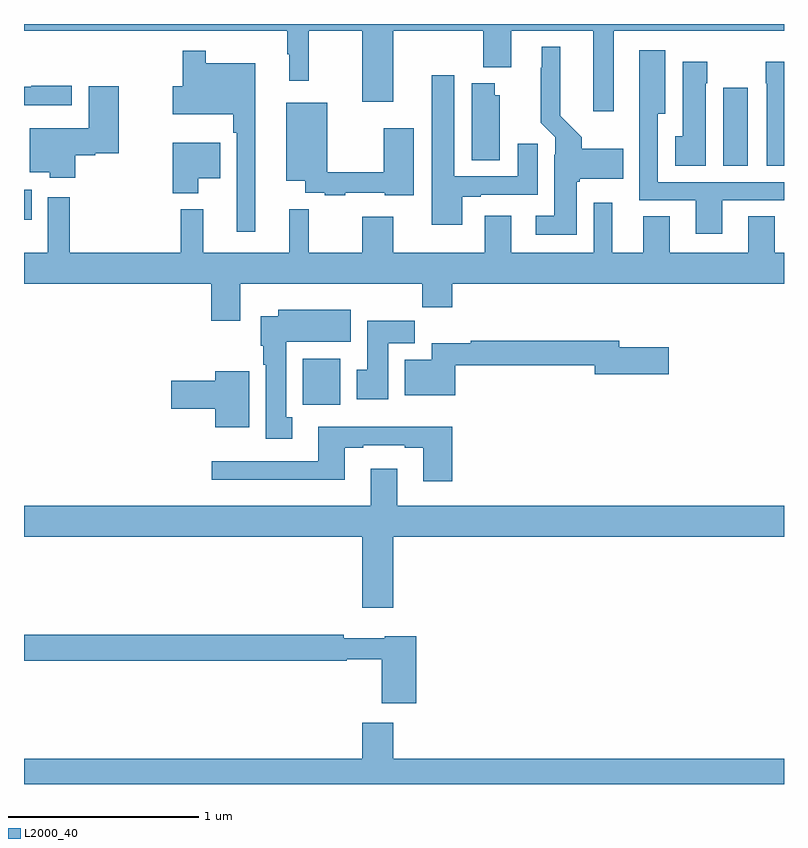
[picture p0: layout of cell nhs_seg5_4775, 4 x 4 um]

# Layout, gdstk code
import gdstk
lib = gdstk.Library(unit=1e-6, precision=1e-09)
def R(c, l, rs):  # rectangles x0, y0, x1, y1
    for r in rs: c.add(gdstk.rectangle(r[:2], r[2:], *l))
def P(c, l, *ps):  # polygons
    for p in ps: c.add(gdstk.Polygon(p, *l))
L2000_40 = (2000, 40)

nhs_seg5_4775 = lib.new_cell('nhs_seg5_4775')
R(nhs_seg5_4775, L2000_40, [(392.468,850.796,392.665,851.038), (391,851.768,391.04,851.926), (394.679,852.052,394.81,852.463)])
P(nhs_seg5_4775, L2000_40, [(391,852.764),(392.385,852.764),(392.385,852.641),(392.396,852.641),(392.396,852.501),(392.498,852.501),(392.498,852.764),(392.78,852.764),(392.78,852.39),(392.944,852.39),(392.944,852.764),(393.418,852.764),(393.418,852.572),(393.565,852.572),(393.565,852.764),(393.995,852.764),(393.995,852.339),(394.105,852.339),(394.105,852.764),(395,852.764),(395,852.799),(391,852.799)],
  [(393.91,851.97),(393.924,851.97),(393.924,851.984),(394.153,851.984),(394.153,852.142),(393.936,852.142),(393.936,852.203),(393.823,852.316),(393.823,852.679),(393.725,852.679),(393.725,852.569),(393.721,852.569),(393.721,852.278),(393.795,852.204),(393.795,852.11),(393.791,852.11),(393.791,851.791),(393.693,851.791),(393.693,851.69),(393.91,851.69)],
  [(394.675,851.871),(395,851.871),(395,851.967),(394.335,851.967),(394.335,852.326),(394.375,852.326),(394.375,852.661),(394.238,852.661),(394.238,852.33),(394.239,852.33),(394.239,851.871),(394.535,851.871),(394.535,851.694),(394.675,851.694)],
  [(392.218,852.592),(391.957,852.592),(391.957,852.658),(391.836,852.658),(391.836,852.471),(391.784,852.471),(391.784,852.323),(392.101,852.323),(392.101,852.227),(392.121,852.227),(392.121,851.706),(392.218,851.706)],
  [(394.588,852.488),(394.596,852.488),(394.596,852.601),(394.466,852.601),(394.466,852.209),(394.427,852.209),(394.427,852.052),(394.588,852.052)],
  [(395,852.601),(394.903,852.601),(394.903,852.488),(394.91,852.488),(394.91,852.052),(395,852.052)],
  [(393.307,851.889),(393.403,851.889),(393.403,851.901),(393.703,851.901),(393.703,852.169),(393.599,852.169),(393.599,851.997),(393.265,851.997),(393.265,852.529),(393.146,852.529),(393.146,851.742),(393.307,851.742)],
  [(393.505,852.423),(393.478,852.423),(393.478,852.487),(393.356,852.487),(393.356,852.082),(393.505,852.082)],
  [(391.252,852.473),(391.039,852.473),(391.039,852.47),(391,852.47),(391,852.372),(391.252,852.372)],
  [(391.271,852.107),(391.374,852.107),(391.374,852.119),(391.498,852.119),(391.498,852.472),(391.34,852.472),(391.34,852.25),(391.031,852.25),(391.031,852.02),(391.136,852.02),(391.136,851.99),(391.271,851.99)],
  [(393.052,852.25),(392.894,852.25),(392.894,852.019),(392.596,852.019),(392.596,852.385),(392.381,852.385),(392.381,851.975),(392.48,851.975),(392.48,851.91),(392.584,851.91),(392.584,851.898),(392.692,851.898),(392.692,851.91),(392.898,851.91),(392.898,851.897),(393.052,851.897)],
  [(391.918,851.987),(392.032,851.987),(392.032,852.175),(391.784,852.175),(391.784,851.909),(391.918,851.909)],
  [(393.097,851.308),(393.254,851.308),(393.254,851.432),(395,851.432),(395,851.596),(394.951,851.596),(394.951,851.786),(394.811,851.786),(394.811,851.596),(394.399,851.596),(394.399,851.786),(394.259,851.786),(394.259,851.596),(394.096,851.596),(394.096,851.857),(393.999,851.857),(393.999,851.596),(393.565,851.596),(393.565,851.791),(393.425,851.791),(393.425,851.596),(392.944,851.596),(392.944,851.785),(392.78,851.785),(392.78,851.596),(392.498,851.596),(392.498,851.825),(392.396,851.825),(392.396,851.596),(391.943,851.596),(391.943,851.824),(391.825,851.824),(391.825,851.596),(391.241,851.596),(391.241,851.887),(391.125,851.887),(391.125,851.596),(391,851.596),(391,851.432),(391.985,851.432),(391.985,851.238),(392.137,851.238),(392.137,851.432),(393.097,851.432)],
  [(392.413,850.73),(392.38,850.73),(392.38,851.126),(392.719,851.126),(392.719,851.296),(392.339,851.296),(392.339,851.26),(392.246,851.26),(392.246,851.106),(392.258,851.106),(392.258,851.006),(392.273,851.006),(392.273,850.617),(392.413,850.617)],
  [(392.917,851.12),(393.056,851.12),(393.056,851.238),(392.807,851.238),(392.807,850.98),(392.75,850.98),(392.75,850.824),(392.917,850.824)],
  [(393.269,851.002),(394.004,851.002),(394.004,850.955),(394.393,850.955),(394.393,851.097),(394.132,851.097),(394.132,851.131),(393.352,851.131),(393.352,851.12),(393.146,851.12),(393.146,851.032),(393.005,851.032),(393.005,850.844),(393.269,850.844)],
  [(392.185,850.972),(392.006,850.972),(392.006,850.922),(391.776,850.922),(391.776,850.775),(392.006,850.775),(392.006,850.676),(392.185,850.676)],
  [(393.254,850.678),(392.549,850.678),(392.549,850.497),(391.989,850.497),(391.989,850.4),(392.689,850.4),(392.689,850.569),(392.785,850.569),(392.785,850.581),(393.005,850.581),(393.005,850.569),(393.101,850.569),(393.101,850.392),(393.254,850.392)],
  [(392.944,850.1),(395,850.1),(395,850.264),(392.965,850.264),(392.965,850.459),(392.825,850.459),(392.825,850.264),(391,850.264),(391,850.1),(392.78,850.1),(392.78,849.726),(392.944,849.726)],
  [(393.065,849.577),(392.898,849.577),(392.898,849.565),(392.684,849.565),(392.684,849.584),(391,849.584),(391,849.448),(392.698,849.448),(392.698,849.456),(392.882,849.456),(392.882,849.225),(393.065,849.225)],
  [(392.944,849.121),(392.78,849.121),(392.78,848.932),(391,848.932),(391,848.799),(395,848.799),(395,848.932),(392.944,848.932)])

lib.write_gds('nhs_seg5_4775.gds')
